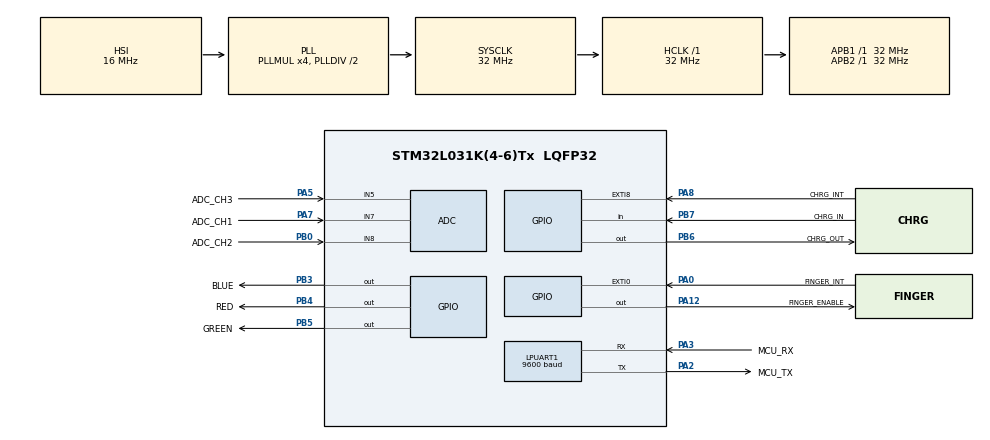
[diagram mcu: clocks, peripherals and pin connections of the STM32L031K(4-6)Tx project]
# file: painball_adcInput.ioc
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ADC.ClockPrescaler=ADC_CLOCK_SYNC_PCLK_DIV2
ADC.ContinuousConvMode=ENABLE
ADC.DMAContinuousRequests=ENABLE
ADC.SamplingTime=ADC_SAMPLETIME_160CYCLES_5
Dma.ADC.2.Direction=DMA_PERIPH_TO_MEMORY
Dma.ADC.2.Instance=DMA1_Channel1
Dma.ADC.2.MemDataAlignment=DMA_MDATAALIGN_WORD
Dma.ADC.2.MemInc=DMA_MINC_ENABLE
Dma.ADC.2.Mode=DMA_CIRCULAR
Dma.ADC.2.PeriphDataAlignment=DMA_PDATAALIGN_WORD
Dma.ADC.2.PeriphInc=DMA_PINC_DISABLE
Dma.ADC.2.Priority=DMA_PRIORITY_LOW
Dma.LPUART1_RX.0.Direction=DMA_PERIPH_TO_MEMORY
Dma.LPUART1_RX.0.Instance=DMA1_Channel3
Dma.LPUART1_RX.0.MemDataAlignment=DMA_MDATAALIGN_BYTE
Dma.LPUART1_RX.0.MemInc=DMA_MINC_ENABLE
Dma.LPUART1_RX.0.Mode=DMA_NORMAL
Dma.LPUART1_RX.0.PeriphDataAlignment=DMA_PDATAALIGN_BYTE
Dma.LPUART1_RX.0.PeriphInc=DMA_PINC_DISABLE
Dma.LPUART1_RX.0.Priority=DMA_PRIORITY_LOW
Dma.LPUART1_TX.1.Direction=DMA_MEMORY_TO_PERIPH
Dma.LPUART1_TX.1.Instance=DMA1_Channel2
Dma.LPUART1_TX.1.MemDataAlignment=DMA_MDATAALIGN_BYTE
Dma.LPUART1_TX.1.MemInc=DMA_MINC_ENABLE
Dma.LPUART1_TX.1.Mode=DMA_NORMAL
Dma.LPUART1_TX.1.PeriphDataAlignment=DMA_PDATAALIGN_BYTE
Dma.LPUART1_TX.1.PeriphInc=DMA_PINC_DISABLE
Dma.LPUART1_TX.1.Priority=DMA_PRIORITY_LOW
Dma.Request0=LPUART1_RX
Dma.Request1=LPUART1_TX
Dma.Request2=ADC
LPUART1.BaudRate=9600
LPUART1.WordLength=UART_WORDLENGTH_8B
Mcu.Family=STM32L0
Mcu.Name=STM32L031K(4-6)Tx
Mcu.Package=LQFP32
NVIC.ADC1_COMP_IRQn=true\:1\:0\:true\:false\:true\:true\:true\:true
NVIC.DMA1_Channel1_IRQn=true\:0\:0\:false\:false\:true\:false\:true\:true
NVIC.DMA1_Channel2_3_IRQn=true\:0\:0\:false\:false\:true\:false\:true\:true
NVIC.EXTI0_1_IRQn=true\:3\:0\:true\:false\:true\:true\:true\:true
NVIC.EXTI4_15_IRQn=true\:3\:0\:true\:false\:true\:true\:true\:true
NVIC.LPUART1_IRQn=true\:1\:0\:true\:false\:true\:true\:true\:true
NVIC.TIM2_IRQn=true\:1\:0\:true\:false\:true\:true\:true\:true
PA0-CK_IN.GPIO_Label=FINGER_INT
PA0-CK_IN.Signal=GPXTI0
PA12.GPIO_Label=FINGER_ENABLE
PA12.Signal=GPIO_Output
PA13.Mode=Serial_Wire
PA13.Signal=SYS_SWDIO
PA14.Mode=Serial_Wire
PA14.Signal=SYS_SWCLK
PA2.GPIO_Label=MCU_TX
PA2.Mode=Asynchronous
PA2.Signal=LPUART1_TX
PA3.GPIO_Label=MCU_RX
PA3.Mode=Asynchronous
PA3.Signal=LPUART1_RX
PA5.GPIO_Label=ADC_CH3
PA5.Mode=IN5
PA5.Signal=ADC_IN5
PA7.GPIO_Label=ADC_CH1
PA7.Mode=IN7
PA7.Signal=ADC_IN7
PA8.GPIO_Label=CHRG_INT
PA8.Signal=GPXTI8
PB0.GPIO_Label=ADC_CH2
PB0.Mode=IN8
PB0.Signal=ADC_IN8
PB3.GPIO_Label=BLUE
PB3.Signal=GPIO_Output
PB4.GPIO_Label=RED
PB4.Signal=GPIO_Output
PB5.GPIO_Label=GREEN
PB5.Signal=GPIO_Output
PB6.GPIO_Label=CHRG_OUT
PB6.Signal=GPIO_Output
PB7.GPIO_Label=CHRG_IN
PB7.Signal=GPIO_Input
ProjectManager.HeapSize=0x200
ProjectManager.StackSize=0x400
ProjectManager.TargetToolchain=STM32CubeIDE
RCC.ADCFreq_Value=16000000
RCC.AHBFreq_Value=32000000
RCC.APB1Freq_Value=32000000
RCC.APB1TimFreq_Value=32000000
RCC.APB2Freq_Value=32000000
RCC.APB2TimFreq_Value=32000000
RCC.HCLKFreq_Value=32000000
RCC.HSE_VALUE=8000000
RCC.HSI16_VALUE=16000000
RCC.HSI_VALUE=16000000
RCC.LSE_VALUE=32768
RCC.MSIClockRange=RCC_MSIRANGE_6
RCC.MSI_VALUE=4194000
RCC.PLLMUL=RCC_PLLMUL_4
RCC.SYSCLKFreq_VALUE=32000000
RCC.SYSCLKSource=RCC_SYSCLKSOURCE_PLLCLK
RCC.VCOOutputFreq_Value=64000000
TIM2.Period=40-1
VP_ADC_Vref_Input.Mode=IN-Vrefint
VP_TIM2_VS_ClockSourceINT.Mode=Internal
board=custom

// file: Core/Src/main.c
/* USER CODE BEGIN Header */
/**
 ******************************************************************************
 * @file           : main.c
 * @brief          : Main program body
 ******************************************************************************
 * @attention
 *
 * Copyright (c) 2024 STMicroelectronics.
 * All rights reserved.
 *
 * This software is licensed under terms that can be found in the LICENSE file
 * in the root directory of this software component.
 * If no LICENSE file comes with this software, it is provided AS-IS.
 *
 ******************************************************************************
 */
/* USER CODE END Header */
#include "main.h"
#include "adc.h"
#include "dma.h"
#include "usart.h"
#include "tim.h"
#include "gpio.h"

/* USER CODE BEGIN Includes */
#include "math.h"
/* USER CODE END Includes */

/* USER CODE BEGIN PD */
#define VREFINT_CAL_ADDR	0x1FF80078  /* datasheet p. 19 */
#define VREFINT_CAL 		((uint16_t*) VREFINT_CAL_ADDR)
#define CH1 				2
#define CH2 				0
#define CH3 				1
#define VDDA_CH 			3
#define NUM_SAMPLE 			200
#define NUM_CHANNEL 		4
//#define NUM_CHANNEL 		3
#define TRESHOLD1			2580
#define TRESHOLD2			2553
#define TRESHOLD3			2553
#define TRESHOLD_GENERAL	300
#define INTERVAL  			1000
/* USER CODE END PD */

/* USER CODE BEGIN PV */
uint32_t vdda = 0;
//uint32_t adcBuffer[NUM_SAMPLE * NUM_CHANNEL];
uint32_t adcBuffer[4];
uint32_t vrms[3];
uint32_t vAdcVrmsOff[3];
uint32_t voltBuffer1[200];
uint32_t voltBuffer2[200];
uint32_t voltBuffer3[200];
uint32_t timer = 0;
uint8_t stateEvent = 0;
uint8_t bufferString[100];
uint16_t counterLog = 0;
volatile uint8_t stateFinishADC = 0;
uint8_t stateCH[3];
/* USER CODE END PV */

void SystemClock_Config(void);
/* USER CODE BEGIN PFP */
void HAL_ADC_ConvCpltCallback(ADC_HandleTypeDef * hadc);
/* USER CODE END PFP */

/* USER CODE BEGIN 0 */
uint32_t getMaxValue(uint32_t samples[], uint32_t num_samples) {
    uint32_t max_value = 0;
    for (uint32_t i = 0; i < num_samples; i++) {
        if (samples[i] > max_value) {
            max_value = samples[i];
        }
    }
    return max_value;
}
/* USER CODE END 0 */

int main(void)
{

  /* MCU Configuration--------------------------------------------------------*/

  /* Reset of all peripherals, Initializes the Flash interface and the Systick. */
  HAL_Init();

  /* USER CODE BEGIN Init */
	HAL_Delay(1000);
  /* USER CODE END Init */

  /* Configure the system clock */
  SystemClock_Config();

  /* Initialize all configured peripherals */
  MX_GPIO_Init();
  MX_DMA_Init();
  MX_ADC_Init();
  MX_TIM2_Init();
  MX_LPUART1_UART_Init();
  /* USER CODE BEGIN 2 */
	timer = HAL_GetTick();
	// CALBRATION ADC BEFORE STARTING
	if(HAL_ADCEx_Calibration_Start(&hadc, ADC_SINGLE_ENDED) != HAL_OK){
		Error_Handler();
	}else __asm__("nop");

	// STARTING ADC USING DMA METHOD
	if(HAL_ADC_Start_DMA(&hadc, adcBuffer, 4) != HAL_OK){
		Error_Handler();
	}else __asm__("nop");

	// INIT OFF VALUE VRMS
	while(stateFinishADC==0){}
	HAL_Delay(1000);
	uint32_t sumAdcVrmsOff[3];
	for(uint8_t i1=0;i1<10;i1++){
		if(stateFinishADC){
			stateFinishADC = 0;
			for(uint8_t i=0;i<200;i++){
				vdda = (3000UL * *VREFINT_CAL) / adcBuffer[VDDA_CH];
				voltBuffer1[i] = (adcBuffer[0] * vdda) / 4095;
				voltBuffer2[i] = (adcBuffer[1] * vdda) / 4095;
				voltBuffer3[i] = (adcBuffer[2] * vdda) / 4095;
				HAL_Delay(1);
			}
			vAdcVrmsOff[0] = getMaxValue(voltBuffer1, 200)/sqrt(2);
			vAdcVrmsOff[1] = getMaxValue(voltBuffer2, 200)/sqrt(2);
			vAdcVrmsOff[2] = getMaxValue(voltBuffer3, 200)/sqrt(2);
		}
		HAL_Delay(10);
	}
  /* USER CODE END 2 */

  /* Infinite loop */
  /* USER CODE BEGIN WHILE */
	while (1)
	{
		if(stateFinishADC){
			stateFinishADC = 0;
			for(uint8_t i=0;i<200;i++){
				vdda = (3000UL * *VREFINT_CAL) / adcBuffer[VDDA_CH];
				voltBuffer1[i] = (adcBuffer[0] * vdda) / 4095;
				voltBuffer2[i] = (adcBuffer[1] * vdda) / 4095;
				voltBuffer3[i] = (adcBuffer[2] * vdda) / 4095;
				HAL_Delay(1);
			}
			// GET MAX VALUE & VRMS
			vrms[0] = getMaxValue(voltBuffer1, 200)/sqrt(2);
			vrms[1] = getMaxValue(voltBuffer2, 200)/sqrt(2);
			vrms[2] = getMaxValue(voltBuffer3, 200)/sqrt(2);
		}

		// CLEARING DATA BUFFER STRING
		for(uint8_t index=0;index>30;index++){bufferString[index]=0;}
		// GETTING STATE CHANNEL
		if(vrms[CH1] > vAdcVrmsOff[CH1]+TRESHOLD_GENERAL){stateCH[CH1] = 1;}
		else{stateCH[CH1] = 0;}
		if(vrms[CH2] > vAdcVrmsOff[CH2]+TRESHOLD_GENERAL){stateCH[CH2] = 1;}
		else{stateCH[CH2] = 0;}
		if(vrms[CH3] > vAdcVrmsOff[CH3]+TRESHOLD_GENERAL){stateCH[CH3] = 1;}
		else{stateCH[CH3] = 0;}

		// SEND STATUS CHANNEL >> ROUTINE
		if(((HAL_GetTick()-timer)>=INTERVAL)){
			uint16_t sizeString = 0;
			// RESET TIMER AND STATE
			timer = HAL_GetTick();
			// GENERATE TEXT >> STATE
			sprintf(bufferString,"[%d],CH1:%d,CH2:%d,CH3:%d;\r\n",counterLog,stateCH[CH1],stateCH[CH2],stateCH[CH3]);
			// GENERATE TEXT >> FLOAT VOLTAGE
//			sprintf(bufferString,"[%d],CH1:%d(%d)=%d,CH2:%d(%d)=%d,CH3:%d(%d)=%d;==%d\r\n",counterLog,vrms[CH1],vAdcVrmsOff[CH1],stateCH[CH1],vrms[CH2],vAdcVrmsOff[CH2],stateCH[CH2],vrms[CH3],vAdcVrmsOff[CH3],stateCH[CH3],vdda);

			// COUNTING SIZE OF FRAM STRING
			for(uint8_t i=0;i<100;i++){
				if(bufferString[i]==0){
					sizeString = i;
					break;
				}
			}
			// TRANSMIT DATA USING UART PERIPHERAL
			HAL_UART_Transmit(&hlpuart1, bufferString, sizeString, 1000);
			// COUNTER LOG
			counterLog += 1;
			if(counterLog  >= 0xffff){
				counterLog = 0;
			}
		}

    /* USER CODE END WHILE */

	}
}

void SystemClock_Config(void)
{
  RCC_OscInitTypeDef RCC_OscInitStruct = {0};
  RCC_ClkInitTypeDef RCC_ClkInitStruct = {0};
  RCC_PeriphCLKInitTypeDef PeriphClkInit = {0};

  /** Configure the main internal regulator output voltage
  */
  __HAL_PWR_VOLTAGESCALING_CONFIG(PWR_REGULATOR_VOLTAGE_SCALE1);

  /** Initializes the RCC Oscillators according to the specified parameters
  * in the RCC_OscInitTypeDef structure.
  */
  RCC_OscInitStruct.OscillatorType = RCC_OSCILLATORTYPE_HSI;
  RCC_OscInitStruct.HSIState = RCC_HSI_ON;
  RCC_OscInitStruct.HSICalibrationValue = RCC_HSICALIBRATION_DEFAULT;
  RCC_OscInitStruct.PLL.PLLState = RCC_PLL_ON;
  RCC_OscInitStruct.PLL.PLLSource = RCC_PLLSOURCE_HSI;
  RCC_OscInitStruct.PLL.PLLMUL = RCC_PLLMUL_4;
  RCC_OscInitStruct.PLL.PLLDIV = RCC_PLLDIV_2;
  if (HAL_RCC_OscConfig(&RCC_OscInitStruct) != HAL_OK)
  {
    Error_Handler();
  }

  /** Initializes the CPU, AHB and APB buses clocks
  */
  RCC_ClkInitStruct.ClockType = RCC_CLOCKTYPE_HCLK|RCC_CLOCKTYPE_SYSCLK
                              |RCC_CLOCKTYPE_PCLK1|RCC_CLOCKTYPE_PCLK2;
  RCC_ClkInitStruct.SYSCLKSource = RCC_SYSCLKSOURCE_PLLCLK;
  RCC_ClkInitStruct.AHBCLKDivider = RCC_SYSCLK_DIV1;
  RCC_ClkInitStruct.APB1CLKDivider = RCC_HCLK_DIV1;
  RCC_ClkInitStruct.APB2CLKDivider = RCC_HCLK_DIV1;

  if (HAL_RCC_ClockConfig(&RCC_ClkInitStruct, FLASH_LATENCY_1) != HAL_OK)
  {
    Error_Handler();
  }
  PeriphClkInit.PeriphClockSelection = RCC_PERIPHCLK_LPUART1;
  PeriphClkInit.Lpuart1ClockSelection = RCC_LPUART1CLKSOURCE_PCLK1;
  if (HAL_RCCEx_PeriphCLKConfig(&PeriphClkInit) != HAL_OK)
  {
    Error_Handler();
  }
}

/* USER CODE BEGIN 4 */
void HAL_ADC_ConvCpltCallback(ADC_HandleTypeDef * hadc){
	if(hadc->Instance == ADC1){
		stateFinishADC = 1;
	}
}

/* USER CODE END 4 */

void Error_Handler(void)
{
	__disable_irq();
	while (1)
	{
	}
}
